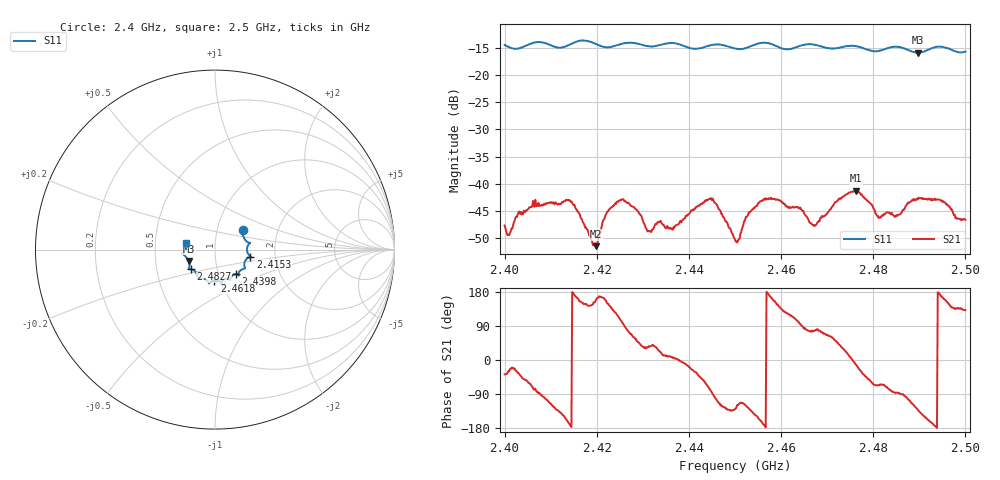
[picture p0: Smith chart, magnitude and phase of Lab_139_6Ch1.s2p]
# Hz S RI R 50
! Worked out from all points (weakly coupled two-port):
!   601 points, 2.4 GHz to 2.5 GHz, reference 50 ohm
!   highest |S21| = -41.24 dB at 2.4763 GHz (marker M1); lowest = -51.4 dB at 2.4198 GHz (marker M2)
!   lowest |S11| = -15.9 dB at 2.4897 GHz (marker M3), VSWR 1.38, Z = 36.9 - j4.84 ohm
!   |S11| at or under -10 dB: start of sweep to end of sweep
!   S12 and S22 are empty: the file has one direction only
!   S11 on the Smith chart (normalised r, x): 2.4 GHz: 1.33, +0.30; 2.4153 GHz: 1.48, -0.12; 2.4398 GHz: 1.21, -0.34; 2.4618 GHz: 0.94, -0.33; 2.4827 GHz: 0.75, -0.17; 2.5 GHz: 0.72, +0.06
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2.4e9  0.1551 0.107  0.00328 -0.00255  0 0  0 0
2.401e9  0.155 0.0913  0.00296 -0.00166  0 0  0 0
2.406333e9  0.194 0.0376  0.00133 -0.00636  0 0  0 0
2.415333e9  0.1963 -0.0386  -0.00596 0.00121  0 0  0 0
2.416667e9  0.2026 -0.0426  -0.00425 0.00221  0 0  0 0
2.419833e9  0.1868 -0.0445  -0.00251 0.000963  0 0  0 0
2.422333e9  0.1658 -0.068  -0.00479 0.00289  0 0  0 0
2.425333e9  0.1655 -0.0982  -0.00157 0.00694  0 0  0 0
2.431333e9  0.1402 -0.1171  0.00298 0.00221  0 0  0 0
2.433333e9  0.1306 -0.1336  0.00402 0.00198  0 0  0 0
2.436333e9  0.1325 -0.1451  0.00385 0.000534  0 0  0 0
2.439833e9  0.1155 -0.1361  0.005 -0.00145  0 0  0 0
2.444833e9  0.0845 -0.1679  0.000972 -0.00734  0 0  0 0
2.45e9  0.0654 -0.1622  -0.00195 -0.00238  0 0  0 0
2.455833e9  0.0379 -0.1935  -0.00678 -0.00186  0 0  0 0
2.461833e9  -0.003 -0.1726  -0.00303 0.00535  0 0  0 0
2.466667e9  -0.0344 -0.1881  0.00114 0.00411  0 0  0 0
2.476333e9  -0.0953 -0.1571  0.00844 -0.00199  0 0  0 0
2.482667e9  -0.1349 -0.1091  0.0018 -0.00505  0 0  0 0
2.483333e9  -0.1401 -0.1088  0.00132 -0.0053  0 0  0 0
2.489667e9  -0.1467 -0.0638  -0.00472 -0.00544  0 0  0 0
2.5e9  -0.1595 0.0386  -0.00312 0.00351  0 0  0 0
